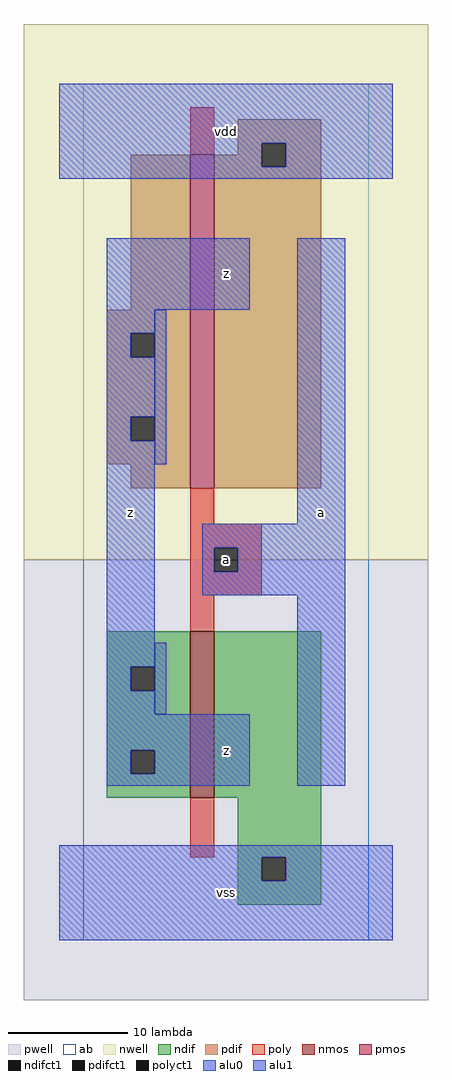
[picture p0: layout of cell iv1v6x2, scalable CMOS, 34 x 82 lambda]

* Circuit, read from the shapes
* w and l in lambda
.subckt iv1v6x2 a vdd vss z
M1 vss a z VSUBS nfet w=14 l=2
M2 vdd a z n1 pfet w=28 l=2
.ends

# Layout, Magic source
magic
tech scmos
<< ab >>
rect 0 0 24 72
<< nwell >>
rect -5 32 29 77
<< pwell >>
rect -5 -5 29 32
<< poly >>
rect 9 66 11 70
rect 9 35 11 38
rect 9 33 15 35
rect 9 31 11 33
rect 13 31 15 33
rect 9 29 15 31
rect 9 26 11 29
rect 9 7 11 12
<< ndif >>
rect 2 23 9 26
rect 2 21 4 23
rect 6 21 9 23
rect 2 16 9 21
rect 2 14 4 16
rect 6 14 9 16
rect 2 12 9 14
rect 11 12 20 26
rect 13 7 20 12
rect 13 5 15 7
rect 17 5 20 7
rect 13 3 20 5
<< pdif >>
rect 13 67 20 69
rect 13 66 15 67
rect 4 53 9 66
rect 2 51 9 53
rect 2 49 4 51
rect 6 49 9 51
rect 2 44 9 49
rect 2 42 4 44
rect 6 42 9 44
rect 2 40 9 42
rect 4 38 9 40
rect 11 65 15 66
rect 17 65 20 67
rect 11 38 20 65
<< alu1 >>
rect -2 67 26 72
rect -2 65 15 67
rect 17 65 26 67
rect -2 64 26 65
rect 2 53 14 59
rect 2 51 6 53
rect 2 49 4 51
rect 2 44 6 49
rect 2 42 4 44
rect 2 23 6 42
rect 18 35 22 59
rect 10 33 22 35
rect 10 31 11 33
rect 13 31 22 33
rect 10 29 22 31
rect 2 21 4 23
rect 2 19 6 21
rect 2 16 14 19
rect 2 14 4 16
rect 6 14 14 16
rect 2 13 14 14
rect 18 13 22 29
rect -2 7 26 8
rect -2 5 15 7
rect 17 5 26 7
rect -2 0 26 5
<< nmos >>
rect 9 12 11 26
<< pmos >>
rect 9 38 11 66
<< polyct1 >>
rect 11 31 13 33
<< ndifct1 >>
rect 4 21 6 23
rect 4 14 6 16
rect 15 5 17 7
<< pdifct1 >>
rect 4 49 6 51
rect 4 42 6 44
rect 15 65 17 67
<< alu0 >>
rect 6 40 7 53
rect 6 19 7 25
<< labels >>
rlabel alu1 4 36 4 36 6 z
rlabel alu1 12 4 12 4 6 vss
rlabel alu1 12 16 12 16 6 z
rlabel polyct1 12 32 12 32 6 a
rlabel alu1 12 56 12 56 6 z
rlabel alu1 12 68 12 68 6 vdd
rlabel alu1 20 36 20 36 6 a
<< end >>
